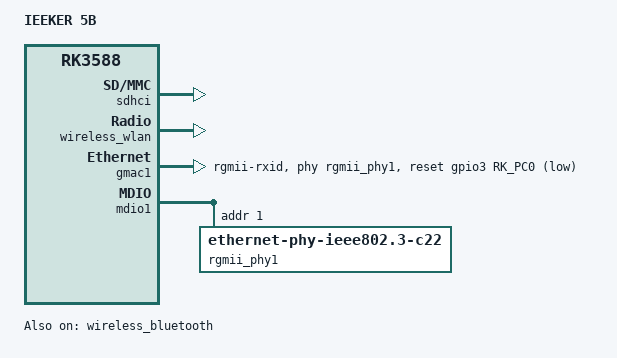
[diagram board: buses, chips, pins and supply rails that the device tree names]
// SPDX-License-Identifier: (GPL-2.0+ OR MIT)
/*
 * Copyright (c) 2021 Rockchip Electronics Co., Ltd.
 *
 */

/dts-v1/;

#include "rk3588s-orangepi-5.dts"

/ {
	model = "IEEKER 5B";
	compatible = "rockchip,rk3588s-orangepi-5", "rockchip,rk3588";
};

&sdhci {
	status = "okay";
};

&sfc {
	status = "disabled";
};

&wireless_bluetooth {
	status = "okay";
};

&wireless_wlan {
	status = "okay";
};

&gmac1 {
	/* Use rgmii-rxid mode to disable rx delay inside Soc */
	phy-mode = "rgmii-rxid";
	clock_in_out = "output";

	snps,reset-gpio = <&gpio3 RK_PC0 GPIO_ACTIVE_LOW>;
	snps,reset-active-low;
	/* Reset time is 20ms, 100ms for rtl8211f */
	snps,reset-delays-us = <0 20000 100000>;

	pinctrl-names = "default";
	pinctrl-0 = <&gmac1_miim
	             &gmac1_tx_bus2
	             &gmac1_rx_bus2
	             &gmac1_rgmii_clk
	             &gmac1_rgmii_bus>;

	tx_delay = <0x42>;
	/* rx_delay = <0x3f>; */

	phy-handle = <&rgmii_phy1>;
	status = "okay";
};

&mdio1 {
	rgmii_phy1: phy@1 {
		compatible = "ethernet-phy-ieee802.3-c22";
		reg = <0x1>;
	};
};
